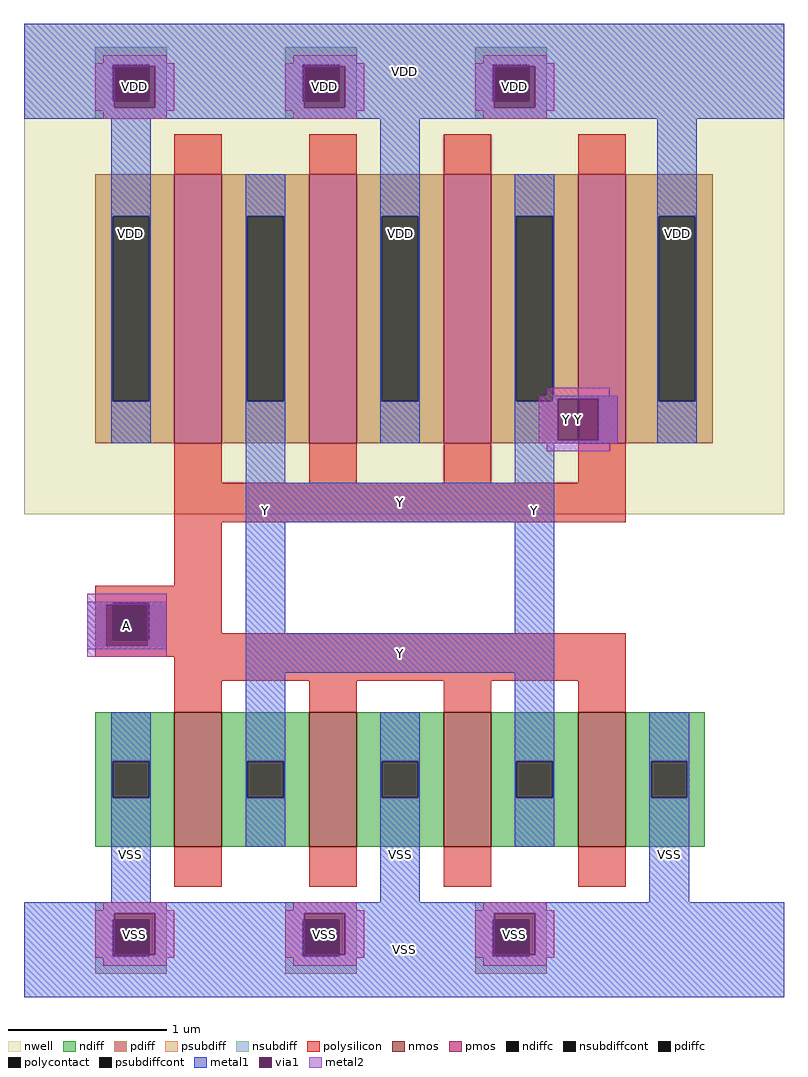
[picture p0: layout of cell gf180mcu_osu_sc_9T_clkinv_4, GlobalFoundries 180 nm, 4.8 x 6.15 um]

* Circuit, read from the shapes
.subckt gf180mcu_osu_sc_9T_clkinv_4 A Y VDD VSS
XM1 Y A VSS VSS nfet_03v3 w=0.85u l=0.3u m=4
XM2 Y A VDD VDD pfet_03v3 w=1.7u l=0.3u m=4
.ends

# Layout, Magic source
magic
tech gf180mcuB
magscale 1 10
<< nwell >>
rect 0 610 960 1230
<< nmos >>
rect 190 190 250 360
rect 360 190 420 360
rect 530 190 590 360
rect 700 190 760 360
<< pmos >>
rect 190 700 250 1040
rect 360 700 420 1040
rect 530 700 590 1040
rect 700 700 760 1040
<< ndiff >>
rect 90 298 190 360
rect 90 252 112 298
rect 158 252 190 298
rect 90 190 190 252
rect 250 298 360 360
rect 250 252 282 298
rect 328 252 360 298
rect 250 190 360 252
rect 420 298 530 360
rect 420 252 452 298
rect 498 252 530 298
rect 420 190 530 252
rect 590 298 700 360
rect 590 252 622 298
rect 668 252 700 298
rect 590 190 700 252
rect 760 298 860 360
rect 760 252 792 298
rect 838 252 860 298
rect 760 190 860 252
<< pdiff >>
rect 90 987 190 1040
rect 90 753 112 987
rect 158 753 190 987
rect 90 700 190 753
rect 250 987 360 1040
rect 250 753 282 987
rect 328 753 360 987
rect 250 700 360 753
rect 420 987 530 1040
rect 420 753 452 987
rect 498 753 530 987
rect 420 700 530 753
rect 590 987 700 1040
rect 590 753 622 987
rect 668 753 700 987
rect 590 700 700 753
rect 760 987 870 1040
rect 760 753 802 987
rect 848 753 870 987
rect 760 700 870 753
<< ndiffc >>
rect 112 252 158 298
rect 282 252 328 298
rect 452 252 498 298
rect 622 252 668 298
rect 792 252 838 298
<< pdiffc >>
rect 112 753 158 987
rect 282 753 328 987
rect 452 753 498 987
rect 622 753 668 987
rect 802 753 848 987
<< psubdiff >>
rect 90 98 180 120
rect 90 52 112 98
rect 158 52 180 98
rect 90 30 180 52
rect 330 98 420 120
rect 330 52 352 98
rect 398 52 420 98
rect 330 30 420 52
rect 570 98 660 120
rect 570 52 592 98
rect 638 52 660 98
rect 570 30 660 52
<< nsubdiff >>
rect 90 1178 180 1200
rect 90 1132 112 1178
rect 158 1132 180 1178
rect 90 1110 180 1132
rect 330 1178 420 1200
rect 330 1132 352 1178
rect 398 1132 420 1178
rect 330 1110 420 1132
rect 570 1178 660 1200
rect 570 1132 592 1178
rect 638 1132 660 1178
rect 570 1110 660 1132
<< psubdiffcont >>
rect 112 52 158 98
rect 352 52 398 98
rect 592 52 638 98
<< nsubdiffcont >>
rect 112 1132 158 1178
rect 352 1132 398 1178
rect 592 1132 638 1178
<< polysilicon >>
rect 190 1040 250 1090
rect 360 1040 420 1090
rect 530 1040 590 1090
rect 700 1040 760 1090
rect 190 650 250 700
rect 360 650 420 700
rect 530 650 590 700
rect 700 650 760 700
rect 190 600 760 650
rect 190 520 250 600
rect 90 498 250 520
rect 90 452 112 498
rect 158 460 250 498
rect 158 452 760 460
rect 90 430 760 452
rect 190 400 760 430
rect 190 360 250 400
rect 360 360 420 400
rect 530 360 590 400
rect 700 360 760 400
rect 190 140 250 190
rect 360 140 420 190
rect 530 140 590 190
rect 700 140 760 190
<< polycontact >>
rect 112 452 158 498
<< metal1 >>
rect 0 1178 960 1230
rect 0 1132 112 1178
rect 158 1176 352 1178
rect 398 1176 592 1178
rect 638 1176 960 1178
rect 166 1132 352 1176
rect 406 1132 592 1176
rect 0 1124 114 1132
rect 166 1124 354 1132
rect 406 1124 594 1132
rect 646 1124 960 1176
rect 0 1110 960 1124
rect 110 987 160 1110
rect 110 753 112 987
rect 158 753 160 987
rect 110 700 160 753
rect 280 987 330 1040
rect 280 753 282 987
rect 328 753 330 987
rect 280 650 330 753
rect 450 987 500 1110
rect 450 753 452 987
rect 498 753 500 987
rect 450 700 500 753
rect 620 987 670 1040
rect 620 753 622 987
rect 668 760 670 987
rect 800 987 850 1110
rect 668 756 750 760
rect 668 753 674 756
rect 620 704 674 753
rect 726 704 750 756
rect 620 700 750 704
rect 800 753 802 987
rect 848 753 850 987
rect 800 700 850 753
rect 620 650 670 700
rect 280 600 670 650
rect 80 498 180 500
rect 80 496 112 498
rect 80 444 104 496
rect 158 452 180 498
rect 156 444 180 452
rect 80 440 180 444
rect 280 460 330 600
rect 620 460 670 600
rect 280 410 670 460
rect 110 298 160 360
rect 110 252 112 298
rect 158 252 160 298
rect 110 120 160 252
rect 280 298 330 410
rect 280 252 282 298
rect 328 252 330 298
rect 280 190 330 252
rect 450 298 500 360
rect 450 252 452 298
rect 498 252 500 298
rect 450 120 500 252
rect 620 298 670 410
rect 620 252 622 298
rect 668 252 670 298
rect 620 190 670 252
rect 790 298 840 360
rect 790 252 792 298
rect 838 252 840 298
rect 790 120 840 252
rect 0 106 960 120
rect 0 98 114 106
rect 166 98 354 106
rect 406 98 594 106
rect 0 52 112 98
rect 166 54 352 98
rect 406 54 592 98
rect 646 54 960 106
rect 158 52 352 54
rect 398 52 592 54
rect 638 52 960 54
rect 0 0 960 52
<< via1 >>
rect 114 1132 158 1176
rect 158 1132 166 1176
rect 354 1132 398 1176
rect 398 1132 406 1176
rect 594 1132 638 1176
rect 638 1132 646 1176
rect 114 1124 166 1132
rect 354 1124 406 1132
rect 594 1124 646 1132
rect 674 704 726 756
rect 104 452 112 496
rect 112 452 156 496
rect 104 444 156 452
rect 114 98 166 106
rect 354 98 406 106
rect 594 98 646 106
rect 114 54 158 98
rect 158 54 166 98
rect 354 54 398 98
rect 398 54 406 98
rect 594 54 638 98
rect 638 54 646 98
<< metal2 >>
rect 100 1180 180 1190
rect 340 1180 420 1190
rect 580 1180 660 1190
rect 90 1176 190 1180
rect 90 1124 114 1176
rect 166 1124 190 1176
rect 90 1120 190 1124
rect 330 1176 430 1180
rect 330 1124 354 1176
rect 406 1124 430 1176
rect 330 1120 430 1124
rect 570 1176 670 1180
rect 570 1124 594 1176
rect 646 1124 670 1176
rect 570 1120 670 1124
rect 100 1110 180 1120
rect 340 1110 420 1120
rect 580 1110 660 1120
rect 660 760 740 770
rect 650 756 750 760
rect 650 704 674 756
rect 726 704 750 756
rect 650 700 750 704
rect 660 690 740 700
rect 80 496 180 510
rect 80 444 104 496
rect 156 444 180 496
rect 80 430 180 444
rect 100 110 180 120
rect 340 110 420 120
rect 580 110 660 120
rect 90 106 190 110
rect 90 54 114 106
rect 166 54 190 106
rect 90 50 190 54
rect 330 106 430 110
rect 330 54 354 106
rect 406 54 430 106
rect 330 50 430 54
rect 570 106 670 110
rect 570 54 594 106
rect 646 54 670 106
rect 570 50 670 54
rect 100 40 180 50
rect 340 40 420 50
rect 580 40 660 50
<< labels >>
rlabel metal2 s 100 1110 180 1190 4 VDD
port 6 nsew power bidirectional abutment
rlabel metal2 s 100 40 180 120 4 VSS
port 7 nsew ground bidirectional
rlabel metal2 s 80 430 180 510 4 A
port 1 nsew signal input
rlabel metal2 s 660 690 740 770 4 Y
port 2 nsew signal output
rlabel metal1 s 80 440 180 500 1 A
port 1 nsew signal input
rlabel metal2 s 90 1120 190 1180 1 VDD
port 6 nsew power bidirectional abutment
rlabel metal2 s 340 1110 420 1190 1 VDD
port 6 nsew power bidirectional abutment
rlabel metal2 s 330 1120 430 1180 1 VDD
port 6 nsew power bidirectional abutment
rlabel metal2 s 580 1110 660 1190 1 VDD
port 6 nsew power bidirectional abutment
rlabel metal2 s 570 1120 670 1180 1 VDD
port 6 nsew power bidirectional abutment
rlabel metal1 s 110 700 160 1230 1 VDD
port 6 nsew power bidirectional abutment
rlabel metal1 s 450 700 500 1230 1 VDD
port 6 nsew power bidirectional abutment
rlabel metal1 s 800 700 850 1230 1 VDD
port 6 nsew power bidirectional abutment
rlabel metal1 s 0 1110 960 1230 1 VDD
port 6 nsew power bidirectional abutment
rlabel metal2 s 90 50 190 110 1 VSS
port 7 nsew ground bidirectional
rlabel metal2 s 340 40 420 120 1 VSS
port 7 nsew ground bidirectional
rlabel metal2 s 330 50 430 110 1 VSS
port 7 nsew ground bidirectional
rlabel metal2 s 580 40 660 120 1 VSS
port 7 nsew ground bidirectional
rlabel metal2 s 570 50 670 110 1 VSS
port 7 nsew ground bidirectional
rlabel metal1 s 110 0 160 360 1 VSS
port 7 nsew ground bidirectional
rlabel metal1 s 450 0 500 360 1 VSS
port 7 nsew ground bidirectional
rlabel metal1 s 790 0 840 360 1 VSS
port 7 nsew ground bidirectional
rlabel metal1 s 0 0 960 120 1 VSS
port 7 nsew ground bidirectional
rlabel metal2 s 650 700 750 760 1 Y
port 2 nsew signal output
rlabel metal1 s 280 190 330 1040 1 Y
port 2 nsew signal output
rlabel metal1 s 280 410 670 460 1 Y
port 2 nsew signal output
rlabel metal1 s 280 600 670 650 1 Y
port 2 nsew signal output
rlabel metal1 s 620 190 670 1040 1 Y
port 2 nsew signal output
rlabel metal1 s 620 700 750 760 1 Y
port 2 nsew signal output
<< properties >>
string FIXED_BBOX 0 0 960 1230
string GDS_END 186686
string GDS_FILE $PDKPATH/libs.ref/gf180mcu_osu_sc_9T/gds/gf180mcu_osu_sc_9T.gds
string GDS_START 179294
string LEFclass CORE
string LEFsite GF018hv5v_mcu_sc7
string LEFsymmetry X Y
<< end >>
